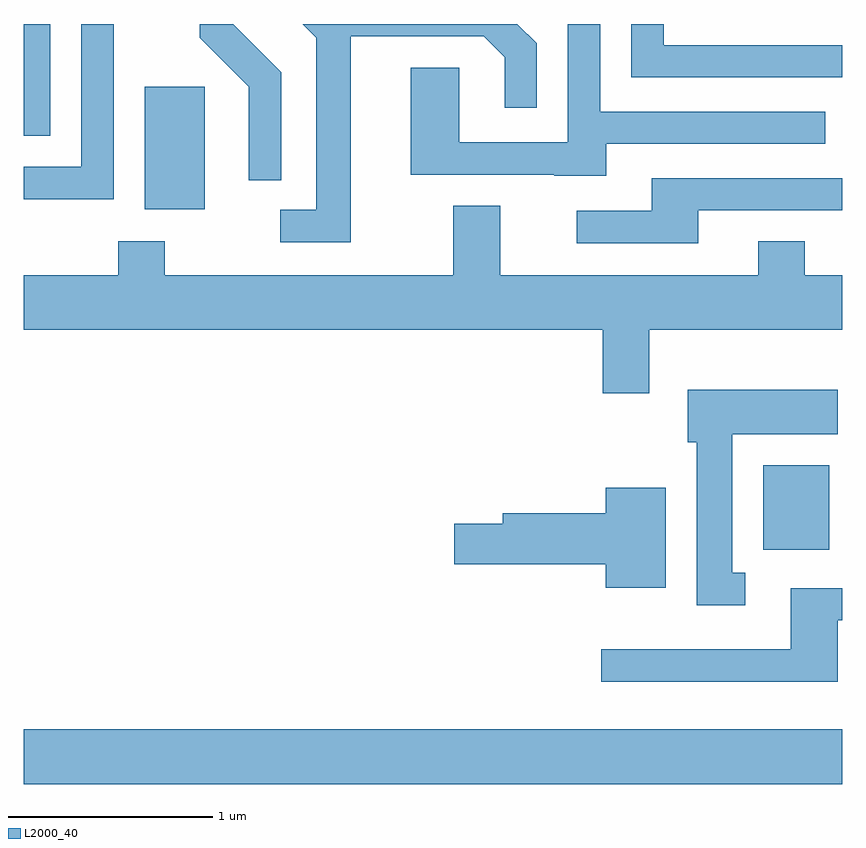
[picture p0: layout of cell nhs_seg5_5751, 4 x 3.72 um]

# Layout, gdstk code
import gdstk
lib = gdstk.Library(unit=1e-6, precision=1e-09)
def R(c, l, rs):  # rectangles x0, y0, x1, y1
    for r in rs: c.add(gdstk.rectangle(r[:2], r[2:], *l))
def P(c, l, *ps):  # polygons
    for p in ps: c.add(gdstk.Polygon(p, *l))
L2000_40 = (2000, 40)

nhs_seg5_5751 = lib.new_cell('nhs_seg5_5751')
R(nhs_seg5_5751, L2000_40, [(355.611,1452.356,359.611,1452.624), (359.226,1453.501,359.549,1453.914), (356.201,1455.166,356.494,1455.764), (355.611,1455.526,355.739,1456.072)])
P(nhs_seg5_5751, L2000_40, [(356.049,1456.072),(355.891,1456.072),(355.891,1455.374),(355.611,1455.374),(355.611,1455.216),(356.049,1455.216)],
  [(356.869,1455.837),(356.634,1456.072),(356.471,1456.072),(356.471,1456.004),(356.711,1455.764),(356.711,1455.308),(356.869,1455.308)],
  [(359.611,1455.969),(358.739,1455.969),(358.739,1456.072),(358.581,1456.072),(358.581,1455.811),(359.611,1455.811)],
  [(358.459,1455.486),(359.528,1455.486),(359.528,1455.644),(358.429,1455.644),(358.429,1456.072),(358.271,1456.072),(358.271,1455.494),(357.739,1455.494),(357.739,1455.859),(357.501,1455.859),(357.501,1455.336),(358.205,1455.336),(358.205,1455.331),(358.459,1455.331)],
  [(357.209,1456.011),(357.859,1456.011),(357.961,1455.909),(357.961,1455.663),(358.119,1455.663),(358.119,1455.977),(358.024,1456.072),(356.973,1456.072),(357.041,1456.004),(357.041,1455.164),(356.863,1455.164),(356.863,1455.006),(357.209,1455.006)],
  [(358.909,1455.161),(359.611,1455.161),(359.611,1455.319),(358.681,1455.319),(358.681,1455.159),(358.313,1455.159),(358.313,1455.001),(358.909,1455.001)],
  [(358.669,1454.576),(359.611,1454.576),(359.611,1454.844),(359.429,1454.844),(359.429,1455.009),(359.201,1455.009),(359.201,1454.844),(357.939,1454.844),(357.939,1455.184),(357.711,1455.184),(357.711,1454.844),(356.299,1454.844),(356.299,1455.009),(356.071,1455.009),(356.071,1454.844),(355.611,1454.844),(355.611,1454.576),(358.441,1454.576),(358.441,1454.266),(358.669,1454.266)],
  [(359.138,1453.389),(359.074,1453.389),(359.074,1454.066),(359.589,1454.066),(359.589,1454.284),(358.856,1454.284),(358.856,1454.026),(358.901,1454.026),(358.901,1453.231),(359.138,1453.231)],
  [(358.749,1453.804),(358.456,1453.804),(358.456,1453.679),(357.951,1453.679),(357.951,1453.629),(357.716,1453.629),(357.716,1453.431),(358.456,1453.431),(358.456,1453.316),(358.749,1453.316)],
  [(359.589,1453.156),(359.611,1453.156),(359.611,1453.314),(359.361,1453.314),(359.361,1453.014),(358.433,1453.014),(358.433,1452.856),(359.589,1452.856)])

lib.write_gds('nhs_seg5_5751.gds')
